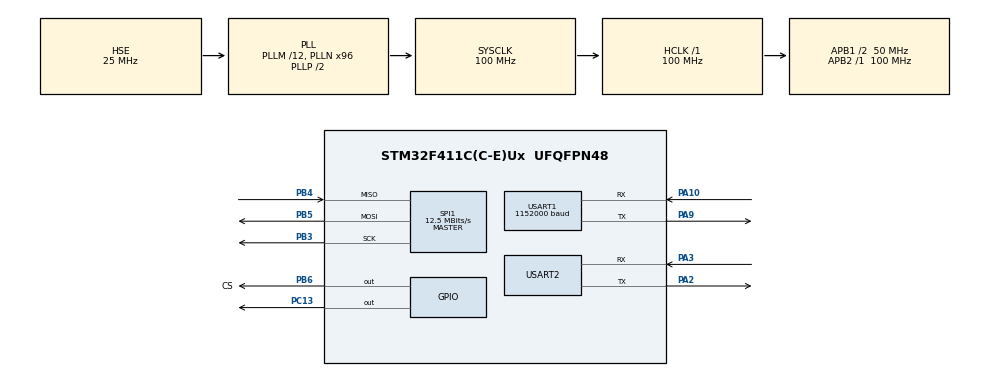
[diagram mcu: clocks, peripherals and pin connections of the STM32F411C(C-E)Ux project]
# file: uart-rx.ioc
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FATFS._MAX_SS=512
FATFS._USE_LABEL=0
FATFS._USE_LFN=1
Mcu.Family=STM32F4
Mcu.Name=STM32F411C(C-E)Ux
Mcu.Package=UFQFPN48
NVIC.PriorityGroup=NVIC_PRIORITYGROUP_4
NVIC.USART1_IRQn=true\:0\:0\:false\:false\:true\:true\:true\:true
NVIC.USART2_IRQn=true\:0\:0\:false\:false\:true\:true\:true\:true
PA10.Mode=Asynchronous
PA10.Signal=USART1_RX
PA2.Mode=Asynchronous
PA2.Signal=USART2_TX
PA3.Mode=Asynchronous
PA3.Signal=USART2_RX
PA9.Mode=Asynchronous
PA9.Signal=USART1_TX
PB3.Mode=Full_Duplex_Master
PB3.Signal=SPI1_SCK
PB4.Mode=Full_Duplex_Master
PB4.Signal=SPI1_MISO
PB5.Mode=Full_Duplex_Master
PB5.Signal=SPI1_MOSI
PB6.GPIO_Label=CS
PB6.GPIO_Speed=GPIO_SPEED_FREQ_HIGH
PB6.PinState=GPIO_PIN_SET
PB6.Signal=GPIO_Output
PC13-ANTI_TAMP.PinState=GPIO_PIN_SET
PC13-ANTI_TAMP.Signal=GPIO_Output
PH0\ -\ OSC_IN.Mode=HSE-External-Oscillator
PH0\ -\ OSC_IN.Signal=RCC_OSC_IN
PH1\ -\ OSC_OUT.Mode=HSE-External-Oscillator
PH1\ -\ OSC_OUT.Signal=RCC_OSC_OUT
ProjectManager.HeapSize=0x200
ProjectManager.StackSize=0x1000
ProjectManager.TargetToolchain=STM32CubeIDE
RCC.48MHZClocksFreq_Value=50000000
RCC.AHBFreq_Value=100000000
RCC.APB1CLKDivider=RCC_HCLK_DIV2
RCC.APB1Freq_Value=50000000
RCC.APB1TimFreq_Value=100000000
RCC.APB2Freq_Value=100000000
RCC.APB2TimFreq_Value=100000000
RCC.CortexFreq_Value=100000000
RCC.HCLKFreq_Value=100000000
RCC.HSE_VALUE=25000000
RCC.HSI_VALUE=16000000
RCC.LSE_VALUE=32768
RCC.PLLM=12
RCC.PLLN=96
RCC.PLLSourceVirtual=RCC_PLLSOURCE_HSE
RCC.SYSCLKFreq_VALUE=100000000
RCC.SYSCLKSource=RCC_SYSCLKSOURCE_PLLCLK
RCC.VCOOutputFreq_Value=200000000
SPI1.BaudRatePrescaler=SPI_BAUDRATEPRESCALER_8
SPI1.CalculateBaudRate=12.5 MBits/s
SPI1.Direction=SPI_DIRECTION_2LINES
SPI1.Mode=SPI_MODE_MASTER
SPI1.VirtualType=VM_MASTER
USART1.BaudRate=1152000
USART1.Mode=MODE_TX_RX
USART1.VirtualMode=VM_ASYNC
USART2.VirtualMode=VM_ASYNC
VP_FATFS_VS_Generic.Mode=User_defined
board=custom

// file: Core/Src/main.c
/* USER CODE BEGIN Header */
/**
  ******************************************************************************
  * @file           : main.c
  * @brief          : Main program body
  ******************************************************************************
  * @attention
  *
  * Copyright (c) 2025 STMicroelectronics.
  * All rights reserved.
  *
  * This software is licensed under terms that can be found in the LICENSE file
  * in the root directory of this software component.
  * If no LICENSE file comes with this software, it is provided AS-IS.
  *
  ******************************************************************************
  */
/* USER CODE END Header */
#include "main.h"
#include "fatfs.h"

/* USER CODE BEGIN Includes */
#include <stdio.h>
#include <string.h>
#include "ymodem.h"
/* USER CODE END Includes */

SPI_HandleTypeDef hspi1;

UART_HandleTypeDef huart1;
UART_HandleTypeDef huart2;

void SystemClock_Config(void);
static void MX_GPIO_Init(void);
static void MX_USART1_UART_Init(void);
static void MX_SPI1_Init(void);
static void MX_USART2_UART_Init(void);
/* USER CODE BEGIN PFP */
static void TransmitStatus(const char* status_msg, uint32_t size);
/* USER CODE END PFP */

int main(void)
{

  /* MCU Configuration--------------------------------------------------------*/

  /* Reset of all peripherals, Initializes the Flash interface and the Systick. */
  HAL_Init();

  /* Configure the system clock */
  SystemClock_Config();

  /* Initialize all configured peripherals */
  MX_GPIO_Init();
  MX_USART1_UART_Init();
  MX_SPI1_Init();
  MX_FATFS_Init();
  MX_USART2_UART_Init();
  /* USER CODE BEGIN 2 */

  HAL_Delay(500);
  /* USER CODE END 2 */

  /* Infinite loop */
  /* USER CODE BEGIN WHILE */
  while (1)
  {
    uint32_t received_size = 0;
    COM_StatusTypeDef status;

    /* Wait for YModem transfer initiation */
    status = Ymodem_Receive(&received_size);

    /* Handle transfer result */
    switch (status)
    {
      case COM_OK:
        /* Transfer completed successfully */
        TransmitStatus("OK", received_size);
        break;

      case COM_ABORT:
        /* Transfer aborted by sender */
        TransmitStatus("ABORTED", 0);
        break;

      case COM_ERROR:
        /* Communication error */
        TransmitStatus("ERROR", 0);
        break;

      case COM_DATA:
        /* File system error */
        TransmitStatus("FS_ERROR", 0);
        break;

      default:
        TransmitStatus("UNKNOWN", 0);
        break;
    }

    HAL_Delay(100);
    /* USER CODE END WHILE */
  }
}

void SystemClock_Config(void)
{
  RCC_OscInitTypeDef RCC_OscInitStruct = {0};
  RCC_ClkInitTypeDef RCC_ClkInitStruct = {0};

  /** Configure the main internal regulator output voltage
  */
  __HAL_RCC_PWR_CLK_ENABLE();
  __HAL_PWR_VOLTAGESCALING_CONFIG(PWR_REGULATOR_VOLTAGE_SCALE1);

  /** Initializes the RCC Oscillators according to the specified parameters
  * in the RCC_OscInitTypeDef structure.
  */
  RCC_OscInitStruct.OscillatorType = RCC_OSCILLATORTYPE_HSE;
  RCC_OscInitStruct.HSEState = RCC_HSE_ON;
  RCC_OscInitStruct.PLL.PLLState = RCC_PLL_ON;
  RCC_OscInitStruct.PLL.PLLSource = RCC_PLLSOURCE_HSE;
  RCC_OscInitStruct.PLL.PLLM = 12;
  RCC_OscInitStruct.PLL.PLLN = 96;
  RCC_OscInitStruct.PLL.PLLP = RCC_PLLP_DIV2;
  RCC_OscInitStruct.PLL.PLLQ = 4;
  if (HAL_RCC_OscConfig(&RCC_OscInitStruct) != HAL_OK)
  {
    Error_Handler();
  }

  /** Initializes the CPU, AHB and APB buses clocks
  */
  RCC_ClkInitStruct.ClockType = RCC_CLOCKTYPE_HCLK|RCC_CLOCKTYPE_SYSCLK
                              |RCC_CLOCKTYPE_PCLK1|RCC_CLOCKTYPE_PCLK2;
  RCC_ClkInitStruct.SYSCLKSource = RCC_SYSCLKSOURCE_PLLCLK;
  RCC_ClkInitStruct.AHBCLKDivider = RCC_SYSCLK_DIV1;
  RCC_ClkInitStruct.APB1CLKDivider = RCC_HCLK_DIV2;
  RCC_ClkInitStruct.APB2CLKDivider = RCC_HCLK_DIV1;

  if (HAL_RCC_ClockConfig(&RCC_ClkInitStruct, FLASH_LATENCY_3) != HAL_OK)
  {
    Error_Handler();
  }
}

static void MX_SPI1_Init(void)
{

  /* SPI1 parameter configuration*/
  hspi1.Instance = SPI1;
  hspi1.Init.Mode = SPI_MODE_MASTER;
  hspi1.Init.Direction = SPI_DIRECTION_2LINES;
  hspi1.Init.DataSize = SPI_DATASIZE_8BIT;
  hspi1.Init.CLKPolarity = SPI_POLARITY_LOW;
  hspi1.Init.CLKPhase = SPI_PHASE_1EDGE;
  hspi1.Init.NSS = SPI_NSS_SOFT;
  hspi1.Init.BaudRatePrescaler = SPI_BAUDRATEPRESCALER_8;
  hspi1.Init.FirstBit = SPI_FIRSTBIT_MSB;
  hspi1.Init.TIMode = SPI_TIMODE_DISABLE;
  hspi1.Init.CRCCalculation = SPI_CRCCALCULATION_DISABLE;
  hspi1.Init.CRCPolynomial = 10;
  if (HAL_SPI_Init(&hspi1) != HAL_OK)
  {
    Error_Handler();
  }

}

static void MX_USART1_UART_Init(void)
{

  huart1.Instance = USART1;
  huart1.Init.BaudRate = 1152000;
  huart1.Init.WordLength = UART_WORDLENGTH_8B;
  huart1.Init.StopBits = UART_STOPBITS_1;
  huart1.Init.Parity = UART_PARITY_NONE;
  huart1.Init.Mode = UART_MODE_TX_RX;
  huart1.Init.HwFlowCtl = UART_HWCONTROL_NONE;
  huart1.Init.OverSampling = UART_OVERSAMPLING_16;
  if (HAL_UART_Init(&huart1) != HAL_OK)
  {
    Error_Handler();
  }

}

static void MX_USART2_UART_Init(void)
{

  huart2.Instance = USART2;
  huart2.Init.BaudRate = 115200;
  huart2.Init.WordLength = UART_WORDLENGTH_8B;
  huart2.Init.StopBits = UART_STOPBITS_1;
  huart2.Init.Parity = UART_PARITY_NONE;
  huart2.Init.Mode = UART_MODE_TX_RX;
  huart2.Init.HwFlowCtl = UART_HWCONTROL_NONE;
  huart2.Init.OverSampling = UART_OVERSAMPLING_16;
  if (HAL_UART_Init(&huart2) != HAL_OK)
  {
    Error_Handler();
  }

}

static void MX_GPIO_Init(void)
{
  GPIO_InitTypeDef GPIO_InitStruct = {0};

  /* GPIO Ports Clock Enable */
  __HAL_RCC_GPIOC_CLK_ENABLE();
  __HAL_RCC_GPIOH_CLK_ENABLE();
  __HAL_RCC_GPIOA_CLK_ENABLE();
  __HAL_RCC_GPIOB_CLK_ENABLE();

  /*Configure GPIO pin Output Level */
  HAL_GPIO_WritePin(GPIOC, GPIO_PIN_13, GPIO_PIN_SET);

  /*Configure GPIO pin Output Level */
  HAL_GPIO_WritePin(CS_GPIO_Port, CS_Pin, GPIO_PIN_SET);

  /*Configure GPIO pin : PC13 */
  GPIO_InitStruct.Pin = GPIO_PIN_13;
  GPIO_InitStruct.Mode = GPIO_MODE_OUTPUT_PP;
  GPIO_InitStruct.Pull = GPIO_NOPULL;
  GPIO_InitStruct.Speed = GPIO_SPEED_FREQ_LOW;
  HAL_GPIO_Init(GPIOC, &GPIO_InitStruct);

  /*Configure GPIO pin : CS_Pin */
  GPIO_InitStruct.Pin = CS_Pin;
  GPIO_InitStruct.Mode = GPIO_MODE_OUTPUT_PP;
  GPIO_InitStruct.Pull = GPIO_NOPULL;
  GPIO_InitStruct.Speed = GPIO_SPEED_FREQ_HIGH;
  HAL_GPIO_Init(CS_GPIO_Port, &GPIO_InitStruct);

}

/* USER CODE BEGIN 4 */
/**
  * @brief  Transmit transfer status via UART
  * @param  status_msg: Status message string
  * @param  size: File size (if applicable)
  */
static void TransmitStatus(const char* status_msg, uint32_t size)
{
  char buffer[64];
  int len;

  if (size > 0)
  {
    len = snprintf(buffer, sizeof(buffer), "[YModem] %s - %lu bytes\r\n", status_msg, size);
  }
  else
  {
    len = snprintf(buffer, sizeof(buffer), "[YModem] %s\r\n", status_msg);
  }

  if (len > 0 && len < sizeof(buffer))
  {
    HAL_UART_Transmit(&huart1, (uint8_t*)buffer, len, 1000);
  }
}
/* USER CODE END 4 */

void Error_Handler(void)
{
  __disable_irq();
  while (1)
  {
  }
}
